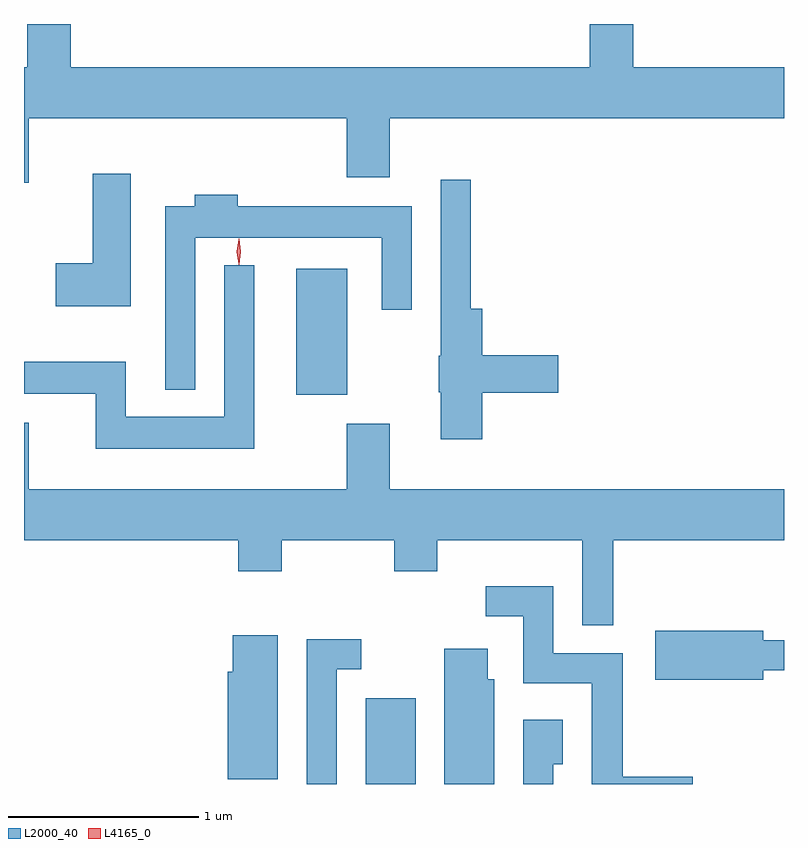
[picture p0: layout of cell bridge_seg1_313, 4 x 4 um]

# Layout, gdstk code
import gdstk
lib = gdstk.Library(unit=1e-6, precision=1e-09)
def R(c, l, rs):  # rectangles x0, y0, x1, y1
    for r in rs: c.add(gdstk.rectangle(r[:2], r[2:], *l))
def P(c, l, *ps):  # polygons
    for p in ps: c.add(gdstk.Polygon(p, *l))
L2000_40 = (2000, 40)
L4165_0 = (4165, 0)

bridge_seg1_313 = lib.new_cell('bridge_seg1_313')
R(bridge_seg1_313, L2000_40, [(878.661,887.192,878.924,887.644), (878.296,889.241,878.564,889.904), (878.301,891.191,878.489,891.192)])
P(bridge_seg1_313, L2000_40, [(876.889,890.696),(878.561,890.696),(878.561,890.386),(878.789,890.386),(878.789,890.696),(880.863,890.696),(880.863,890.964),(880.069,890.964),(880.069,891.192),(879.841,891.192),(879.841,890.964),(877.109,890.964),(877.109,891.192),(876.881,891.192),(876.881,890.964),(876.863,890.964),(876.863,890.356),(876.889,890.356)],
  [(877.424,890.404),(877.226,890.404),(877.226,889.934),(877.031,889.934),(877.031,889.706),(877.424,889.706)],
  [(879.274,889.251),(879.674,889.251),(879.674,889.449),(879.274,889.449),(879.274,889.694),(879.214,889.694),(879.214,890.373),(879.056,890.373),(879.056,889.445),(879.046,889.445),(879.046,889.255),(879.056,889.255),(879.056,889.006),(879.274,889.006)],
  [(877.764,890.066),(878.746,890.066),(878.746,889.688),(878.904,889.688),(878.904,890.234),(877.989,890.234),(877.989,890.294),(877.761,890.294),(877.761,890.234),(877.606,890.234),(877.606,889.268),(877.764,889.268)],
  [(878.074,889.923),(877.916,889.923),(877.916,889.124),(877.399,889.124),(877.399,889.414),(876.863,889.414),(876.863,889.246),(877.241,889.246),(877.241,888.956),(878.074,888.956)],
  [(879.964,888.476),(880.863,888.476),(880.863,888.744),(878.789,888.744),(878.789,889.089),(878.561,889.089),(878.561,888.744),(876.889,888.744),(876.889,889.094),(876.863,889.094),(876.863,888.476),(877.991,888.476),(877.991,888.311),(878.219,888.311),(878.219,888.476),(878.811,888.476),(878.811,888.311),(879.039,888.311),(879.039,888.476),(879.801,888.476),(879.801,888.028),(879.964,888.028)],
  [(880.384,887.229),(880.014,887.229),(880.014,887.879),(879.649,887.879),(879.649,888.234),(879.293,888.234),(879.293,888.076),(879.491,888.076),(879.491,887.721),(879.851,887.721),(879.851,887.192),(880.384,887.192)],
  [(880.754,887.791),(880.863,887.791),(880.863,887.949),(880.754,887.949),(880.754,887.999),(880.186,887.999),(880.186,887.741),(880.754,887.741)],
  [(878.199,887.974),(877.961,887.974),(877.961,887.784),(877.936,887.784),(877.936,887.216),(878.199,887.216)],
  [(878.509,887.796),(878.638,887.796),(878.638,887.954),(878.351,887.954),(878.351,887.192),(878.509,887.192)],
  [(879.339,887.744),(879.304,887.744),(879.304,887.904),(879.076,887.904),(879.076,887.192),(879.339,887.192)],
  [(879.649,887.296),(879.699,887.296),(879.699,887.529),(879.491,887.529),(879.491,887.192),(879.649,887.192)])
P(bridge_seg1_313, L4165_0, [(877.994,889.924),(877.985,889.993),(877.994,890.062),(877.995,890.063),(877.995,890.062),(878.005,889.993),(877.995,889.924),(877.995,889.924)],
  [(877.993,889.927),(877.984,889.994),(877.993,890.06),(877.994,890.061),(877.994,890.06),(878.004,889.994),(877.994,889.927),(877.994,889.927)])

lib.write_gds('bridge_seg1_313.gds')
